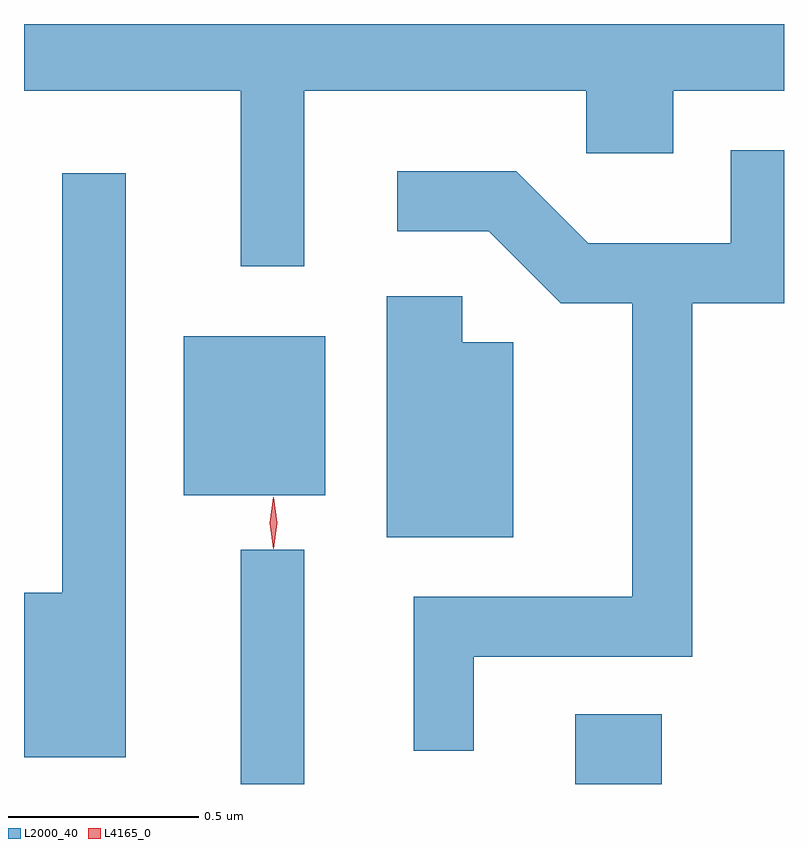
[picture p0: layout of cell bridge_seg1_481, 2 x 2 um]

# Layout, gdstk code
import gdstk
lib = gdstk.Library(unit=1e-6, precision=1e-09)
def R(c, l, rs):  # rectangles x0, y0, x1, y1
    for r in rs: c.add(gdstk.rectangle(r[:2], r[2:], *l))
def P(c, l, *ps):  # polygons
    for p in ps: c.add(gdstk.Polygon(p, *l))
L2000_40 = (2000, 40)
L4165_0 = (4165, 0)

bridge_seg1_481 = lib.new_cell('bridge_seg1_481')
R(bridge_seg1_481, L2000_40, [(257.821,853.351,257.989,853.968), (258.701,853.351,258.929,853.534), (257.671,854.111,258.044,854.529)])
P(bridge_seg1_481, L2000_40, [(257.989,855.176),(258.731,855.176),(258.731,855.011),(258.959,855.011),(258.959,855.176),(259.251,855.176),(259.251,855.351),(257.251,855.351),(257.251,855.176),(257.821,855.176),(257.821,854.713),(257.989,854.713)],
  [(258.434,853.686),(259.009,853.686),(259.009,854.616),(259.251,854.616),(259.251,855.019),(259.111,855.019),(259.111,854.774),(258.736,854.774),(258.546,854.964),(258.233,854.964),(258.233,854.806),(258.474,854.806),(258.664,854.616),(258.851,854.616),(258.851,853.844),(258.276,853.844),(258.276,853.438),(258.434,853.438)],
  [(257.519,854.958),(257.351,854.958),(257.351,853.854),(257.251,853.854),(257.251,853.421),(257.519,853.421)],
  [(258.539,854.514),(258.404,854.514),(258.404,854.634),(258.206,854.634),(258.206,854.001),(258.539,854.001)])
P(bridge_seg1_481, L4165_0, [(257.907,853.973),(257.898,854.037),(257.907,854.101),(257.908,854.102),(257.908,854.101),(257.918,854.037),(257.908,853.973),(257.908,853.973)],
  [(257.907,853.97),(257.898,854.038),(257.907,854.106),(257.908,854.106),(257.908,854.106),(257.918,854.038),(257.908,853.97),(257.908,853.97)])

lib.write_gds('bridge_seg1_481.gds')
